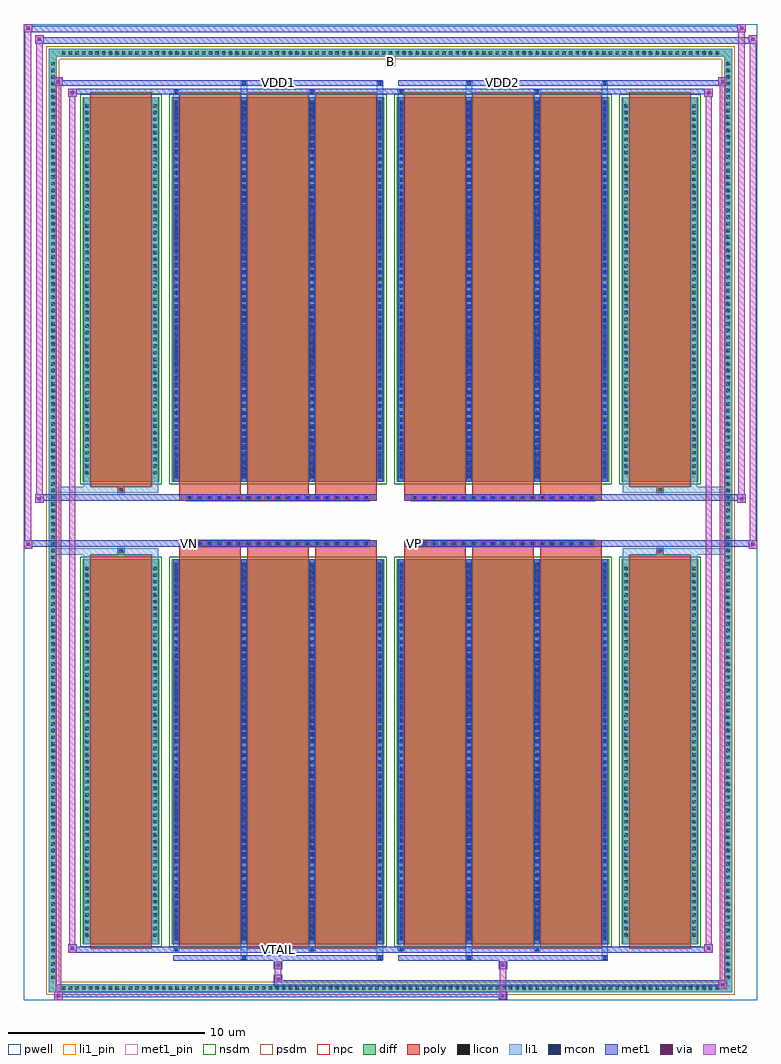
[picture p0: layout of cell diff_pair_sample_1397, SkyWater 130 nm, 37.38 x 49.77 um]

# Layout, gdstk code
import gdstk
lib = gdstk.Library(unit=1e-6, precision=5e-09)
def R(c, l, rs):  # rectangles x0, y0, x1, y1
    for r in rs: c.add(gdstk.rectangle(r[:2], r[2:], *l))
def A(c, l, x, y, w, h, nx, ny, dx, dy):  # array of equal rectangles
    R(c, l, [(x+i*dx, y+j*dy, x+i*dx+w, y+j*dy+h) for i in range(nx) for j in range(ny)])
def P(c, l, *ps):  # polygons
    for p in ps: c.add(gdstk.Polygon(p, *l))
pwell = (64, 44)
diff = (65, 20)
poly = (66, 20)
licon = (66, 44)
li1_pin = (67, 16)
li1 = (67, 20)
mcon = (67, 44)
met1_pin = (68, 16)
met1 = (68, 20)
via = (68, 44)
met2 = (69, 20)
nsdm = (93, 44)
psdm = (94, 20)
npc = (95, 20)

diff_pair_sample_1397 = lib.new_cell('diff_pair_sample_1397')
R(diff_pair_sample_1397, pwell, [(-18.69,-24.45,18.69,25.32), (-16.01,-22.64,-0.01,-0.8), (0.01,-22.64,16.01,-0.8), (-16.01,0.8,-0.01,22.64), (0.01,0.8,16.01,22.64)])
A(diff_pair_sample_1397, diff, -16.865, -24.05, 0.41, 0.41, 99, 2, 0.34, 47.69)
A(diff_pair_sample_1397, diff, -17.42, -23.495, 0.41, 0.41, 1, 138, 0, 0.34)
A(diff_pair_sample_1397, diff, 17.01, -23.495, 0.41, 0.41, 1, 138, 0, 0.34)
R(diff_pair_sample_1397, diff, [(-16.865,-24.05,16.865,-23.64), (-17.42,-23.495,-17.01,23.495), (17.01,-23.495,17.42,23.495), (-15.7,-21.595,-11.79,-1.985), (-11.15,-21.595,-0.32,-1.985), (0.32,-21.595,11.15,-1.985), (11.79,-21.595,15.7,-1.985), (-15.7,1.985,-11.79,21.595), (-11.15,1.985,-0.32,21.595), (0.32,1.985,11.15,21.595), (11.79,1.985,15.7,21.595), (-16.865,23.64,16.865,24.05)])
P(diff_pair_sample_1397, diff, [(17.42,24.05),(-17.42,24.05),(-17.42,-23.64),(-17.01,-23.64),(-17.01,23.64),(17.01,23.64),(17.01,-23.64),(-17.01,-23.64),(-17.42,-23.64),(-17.42,-24.05),(17.42,-24.05)])
A(diff_pair_sample_1397, poly, -10.76, -21.845, 3.13, 20.11, 3, 2, 3.46, 23.58)
A(diff_pair_sample_1397, poly, 0.71, -21.845, 3.13, 20.11, 3, 2, 3.46, 23.58)
A(diff_pair_sample_1397, poly, -10.76, -1.735, 3.13, 0.405, 3, 2, 3.46, 3.065)
A(diff_pair_sample_1397, poly, 0.71, -1.735, 3.13, 0.405, 3, 2, 3.46, 3.065)
A(diff_pair_sample_1397, poly, -10.4, -1.33, 0.33, 0.33, 19, 2, 0.5, 2.33)
A(diff_pair_sample_1397, poly, 1.07, -1.33, 0.33, 0.33, 19, 2, 0.5, 2.33)
R(diff_pair_sample_1397, poly, [(-15.31,-21.845,-12.18,-1.735), (12.18,-21.845,15.31,-1.735), (-13.91,-1.735,-13.58,-1.405), (-13.91,-1.735,-13.58,-1.405), (13.58,-1.735,13.91,-1.405), (13.58,-1.735,13.91,-1.405), (-10.76,-1.33,-0.71,-1), (0.71,-1.33,10.76,-1), (-10.76,1,-0.71,1.33), (0.71,1,10.76,1.33), (-13.91,1.405,-13.58,1.735), (-13.91,1.405,-13.58,1.735), (13.58,1.405,13.91,1.735), (13.58,1.405,13.91,1.735), (-15.31,1.735,-12.18,21.845), (12.18,1.735,15.31,21.845)])
A(diff_pair_sample_1397, licon, -16.745, -23.93, 0.17, 0.17, 99, 2, 0.34, 47.69)
A(diff_pair_sample_1397, licon, -17.3, -23.375, 0.17, 0.17, 1, 138, 0, 0.34)
A(diff_pair_sample_1397, licon, 17.13, -23.375, 0.17, 0.17, 1, 138, 0, 0.34)
A(diff_pair_sample_1397, licon, -15.56, -21.225, 0.17, 0.17, 1, 56, 0, 0.34)
A(diff_pair_sample_1397, licon, -12.1, -21.225, 0.17, 0.17, 1, 56, 0, 0.34)
A(diff_pair_sample_1397, licon, -11.01, -21.225, 0.17, 0.17, 4, 56, 3.46, 0.34)
A(diff_pair_sample_1397, licon, 0.46, -21.225, 0.17, 0.17, 4, 56, 3.46, 0.34)
A(diff_pair_sample_1397, licon, 11.93, -21.225, 0.17, 0.17, 1, 56, 0, 0.34)
A(diff_pair_sample_1397, licon, 15.39, -21.225, 0.17, 0.17, 1, 56, 0, 0.34)
A(diff_pair_sample_1397, licon, -10.32, -1.25, 0.17, 0.17, 19, 2, 0.5, 2.33)
A(diff_pair_sample_1397, licon, 1.15, -1.25, 0.17, 0.17, 19, 2, 0.5, 2.33)
A(diff_pair_sample_1397, licon, -15.56, 2.355, 0.17, 0.17, 1, 56, 0, 0.34)
A(diff_pair_sample_1397, licon, -12.1, 2.355, 0.17, 0.17, 1, 56, 0, 0.34)
A(diff_pair_sample_1397, licon, -11.01, 2.355, 0.17, 0.17, 4, 56, 3.46, 0.34)
A(diff_pair_sample_1397, licon, 0.46, 2.355, 0.17, 0.17, 4, 56, 3.46, 0.34)
A(diff_pair_sample_1397, licon, 11.93, 2.355, 0.17, 0.17, 1, 56, 0, 0.34)
A(diff_pair_sample_1397, licon, 15.39, 2.355, 0.17, 0.17, 1, 56, 0, 0.34)
R(diff_pair_sample_1397, licon, [(-13.83,-1.655,-13.66,-1.485), (13.66,-1.655,13.83,-1.485), (-13.83,1.485,-13.66,1.655), (13.66,1.485,13.83,1.655)])
R(diff_pair_sample_1397, li1_pin, [(-0.25,23.14,0.25,23.64)])
A(diff_pair_sample_1397, li1, -16.825, -24.01, 0.33, 0.33, 99, 2, 0.34, 47.69)
A(diff_pair_sample_1397, li1, -17.38, -23.455, 0.33, 0.33, 1, 138, 0, 0.34)
A(diff_pair_sample_1397, li1, 17.05, -23.455, 0.33, 0.33, 1, 138, 0, 0.34)
A(diff_pair_sample_1397, li1, -11.09, -21.595, 0.33, 19.61, 4, 2, 3.46, 23.58)
A(diff_pair_sample_1397, li1, 0.38, -21.595, 0.33, 19.61, 4, 2, 3.46, 23.58)
A(diff_pair_sample_1397, li1, -11.01, -21.415, 0.17, 0.17, 4, 54, 3.46, 0.36)
A(diff_pair_sample_1397, li1, -11.01, -21.415, 0.17, 19.25, 4, 2, 3.46, 23.58)
A(diff_pair_sample_1397, li1, 0.46, -21.415, 0.17, 0.17, 4, 54, 3.46, 0.36)
A(diff_pair_sample_1397, li1, 0.46, -21.415, 0.17, 19.25, 4, 2, 3.46, 23.58)
A(diff_pair_sample_1397, li1, -15.64, -21.305, 0.33, 0.33, 1, 56, 0, 0.34)
A(diff_pair_sample_1397, li1, -12.18, -21.305, 0.33, 0.33, 1, 56, 0, 0.34)
A(diff_pair_sample_1397, li1, -11.09, -21.305, 0.33, 0.33, 4, 56, 3.46, 0.34)
A(diff_pair_sample_1397, li1, 0.38, -21.305, 0.33, 0.33, 4, 56, 3.46, 0.34)
A(diff_pair_sample_1397, li1, 11.85, -21.305, 0.33, 0.33, 1, 56, 0, 0.34)
A(diff_pair_sample_1397, li1, 15.31, -21.305, 0.33, 0.33, 1, 56, 0, 0.34)
A(diff_pair_sample_1397, li1, -10.4, -1.33, 0.33, 0.33, 19, 2, 0.5, 2.33)
A(diff_pair_sample_1397, li1, 1.07, -1.33, 0.33, 0.33, 19, 2, 0.5, 2.33)
A(diff_pair_sample_1397, li1, -11.01, 2.165, 0.17, 0.17, 4, 54, 3.46, 0.36)
A(diff_pair_sample_1397, li1, 0.46, 2.165, 0.17, 0.17, 4, 54, 3.46, 0.36)
A(diff_pair_sample_1397, li1, -15.64, 2.275, 0.33, 0.33, 1, 56, 0, 0.34)
A(diff_pair_sample_1397, li1, -12.18, 2.275, 0.33, 0.33, 1, 56, 0, 0.34)
A(diff_pair_sample_1397, li1, -11.09, 2.275, 0.33, 0.33, 4, 56, 3.46, 0.34)
A(diff_pair_sample_1397, li1, 0.38, 2.275, 0.33, 0.33, 4, 56, 3.46, 0.34)
A(diff_pair_sample_1397, li1, 11.85, 2.275, 0.33, 0.33, 1, 56, 0, 0.34)
A(diff_pair_sample_1397, li1, 15.31, 2.275, 0.33, 0.33, 1, 56, 0, 0.34)
R(diff_pair_sample_1397, li1, [(-17.42,-24.05,-17.01,-23.64), (-17.42,-24.05,-17.01,-23.64), (-17.01,-24.05,17.01,-23.64), (17.01,-24.05,17.42,-23.64), (17.01,-24.05,17.42,-23.64), (-17.42,-23.64,-17.01,23.64), (17.01,-23.64,17.42,23.64), (-7.63,-22.4,-7.3,-21.595), (-7.55,-22.4,-7.38,-22.23), (-0.71,-22.4,-0.38,-21.595), (-0.63,-22.4,-0.46,-22.23), (3.84,-22.4,4.17,-21.595), (3.92,-22.4,4.09,-22.23), (10.76,-22.4,11.09,-21.595), (10.84,-22.4,11.01,-22.23), (-11.09,-21.97,-10.76,-21.595), (-11.01,-21.97,-10.84,-21.8), (-4.17,-21.97,-3.84,-21.595), (-4.09,-21.97,-3.92,-21.8), (0.38,-21.97,0.71,-21.595), (0.46,-21.97,0.63,-21.8), (7.3,-21.97,7.63,-21.595), (7.38,-21.97,7.55,-21.8), (-15.64,-21.595,-15.31,-1.985), (-12.18,-21.595,-11.85,-1.985), (11.85,-21.595,12.18,-1.985), (15.31,-21.595,15.64,-1.985), (-15.64,-1.985,-15.31,-1.405), (-12.18,-1.985,-11.85,-1.405), (11.85,-1.985,12.18,-1.405), (15.31,-1.985,15.64,-1.405), (-17.42,-1.735,-13.91,-1.405), (-15.64,-1.735,-13.91,-1.405), (-13.91,-1.735,-13.58,-1.405), (-13.58,-1.735,-11.85,-1.405), (11.85,-1.735,13.58,-1.405), (13.58,-1.735,13.91,-1.405), (13.58,-1.735,17.42,-1.405), (13.91,-1.735,15.64,-1.405), (-17.42,1.405,-13.91,1.735), (-15.64,1.405,-13.91,1.735), (-15.64,1.405,-15.31,1.985), (-13.91,1.405,-13.58,1.735), (-13.58,1.405,-11.85,1.735), (-12.18,1.405,-11.85,1.985), (11.85,1.405,13.58,1.735), (11.85,1.405,12.18,1.985), (13.58,1.405,13.91,1.735), (13.58,1.405,17.42,1.735), (13.91,1.405,15.64,1.735), (15.31,1.405,15.64,1.985), (-15.64,1.985,-15.31,21.595), (-12.18,1.985,-11.85,21.595), (11.85,1.985,12.18,21.595), (15.31,1.985,15.64,21.595), (-11.09,21.595,-10.76,21.97), (-7.63,21.595,-7.3,22.4), (-4.17,21.595,-3.84,21.97), (-0.71,21.595,-0.38,22.4), (0.38,21.595,0.71,21.97), (3.84,21.595,4.17,22.4), (7.3,21.595,7.63,21.97), (10.76,21.595,11.09,22.4), (-11.01,21.8,-10.84,21.97), (-4.09,21.8,-3.92,21.97), (0.46,21.8,0.63,21.97), (7.38,21.8,7.55,21.97), (-7.55,22.23,-7.38,22.4), (-0.63,22.23,-0.46,22.4), (3.92,22.23,4.09,22.4), (10.84,22.23,11.01,22.4), (-17.42,23.64,-17.01,24.05), (-17.42,23.64,-17.01,24.05), (-17.01,23.64,17.01,24.05), (17.01,23.64,17.42,24.05), (17.01,23.64,17.42,24.05)])
A(diff_pair_sample_1397, mcon, -11.01, -21.415, 0.17, 0.17, 4, 54, 3.46, 0.36)
A(diff_pair_sample_1397, mcon, 0.46, -21.415, 0.17, 0.17, 4, 54, 3.46, 0.36)
A(diff_pair_sample_1397, mcon, -10.32, -1.25, 0.17, 0.17, 19, 2, 0.5, 2.33)
A(diff_pair_sample_1397, mcon, 1.15, -1.25, 0.17, 0.17, 19, 2, 0.5, 2.33)
A(diff_pair_sample_1397, mcon, -11.01, 2.165, 0.17, 0.17, 4, 54, 3.46, 0.36)
A(diff_pair_sample_1397, mcon, 0.46, 2.165, 0.17, 0.17, 4, 54, 3.46, 0.36)
R(diff_pair_sample_1397, mcon, [(-7.55,-22.4,-7.38,-22.23), (-0.63,-22.4,-0.46,-22.23), (3.92,-22.4,4.09,-22.23), (10.84,-22.4,11.01,-22.23), (-11.01,-21.97,-10.84,-21.8), (-4.09,-21.97,-3.92,-21.8), (0.46,-21.97,0.63,-21.8), (7.38,-21.97,7.55,-21.8), (-11.01,21.8,-10.84,21.97), (-4.09,21.8,-3.92,21.97), (0.46,21.8,0.63,21.97), (7.38,21.8,7.55,21.97), (-7.55,22.23,-7.38,22.4), (-0.63,22.23,-0.46,22.4), (3.92,22.23,4.09,22.4), (10.84,22.23,11.01,22.4)])
R(diff_pair_sample_1397, met1_pin, [(-5.87,-22.01,-5.6,-21.74), (-10.37,-1.29,-10.1,-1.02), (1.1,-1.29,1.37,-1.02), (-5.87,22.19,-5.6,22.46), (5.6,22.19,5.87,22.46)])
A(diff_pair_sample_1397, met1, -11.07, -21.595, 0.29, 19.61, 4, 2, 3.46, 23.58)
A(diff_pair_sample_1397, met1, 0.4, -21.595, 0.29, 19.61, 4, 2, 3.46, 23.58)
A(diff_pair_sample_1397, met1, -11.07, -21.475, 0.29, 0.29, 4, 54, 3.46, 0.36)
A(diff_pair_sample_1397, met1, 0.4, -21.475, 0.29, 0.29, 4, 54, 3.46, 0.36)
A(diff_pair_sample_1397, met1, -10.38, -1.31, 0.29, 0.29, 19, 2, 0.5, 2.33)
A(diff_pair_sample_1397, met1, 1.09, -1.31, 0.29, 0.29, 19, 2, 0.5, 2.33)
A(diff_pair_sample_1397, met1, -11.07, 2.105, 0.29, 0.29, 4, 54, 3.46, 0.36)
A(diff_pair_sample_1397, met1, 0.4, 2.105, 0.29, 0.29, 4, 54, 3.46, 0.36)
R(diff_pair_sample_1397, met1, [(-17.15,-24.45,-16.72,-24.02), (5.52,-24.45,5.95,-24.02), (-17.15,-24.31,5.95,-24.02), (16.72,-23.88,17.15,-23.45), (-5.95,-23.74,17.15,-23.45), (-5.95,-23.6,-5.52,-23.17), (-5.95,-22.89,-5.52,-22.46), (5.52,-22.89,5.95,-22.46), (-11.07,-22.46,-0.4,-22.17), (-7.61,-22.46,-7.32,-22.17), (-0.69,-22.46,-0.4,-22.17), (0.4,-22.46,11.07,-22.17), (3.86,-22.46,4.15,-22.17), (10.78,-22.46,11.07,-22.17), (-16.44,-22.03,-16.01,-21.6), (-16.44,-22.03,-11.07,-21.74), (-11.07,-22.03,-10.78,-21.74), (-11.07,-22.03,-0.4,-21.74), (-4.15,-22.03,-3.86,-21.74), (-0.4,-22.03,0.4,-21.74), (0.4,-22.03,0.69,-21.74), (0.4,-22.03,11.07,-21.74), (7.32,-22.03,7.61,-21.74), (11.07,-22.03,16.44,-21.74), (16.01,-22.03,16.44,-21.6), (-18.69,-1.43,-18.26,-1), (18.26,-1.43,18.69,-1), (-18.69,-1.33,-0.71,-1), (-10.76,-1.33,-0.71,-1), (0.71,-1.33,10.76,-1), (0.71,-1.33,18.69,-1), (-18.12,0.9,-17.69,1.33), (17.69,0.9,18.12,1.33), (-18.12,1,-10.76,1.33), (-10.76,1,-0.71,1.33), (0.71,1,10.76,1.33), (10.76,1,18.12,1.33), (-16.44,21.6,-16.01,22.03), (16.01,21.6,16.44,22.03), (-16.44,21.74,-11.07,22.03), (-11.07,21.74,-10.78,22.03), (-11.07,21.74,-0.4,22.03), (-4.15,21.74,-3.86,22.03), (-0.4,21.74,0.4,22.03), (0.4,21.74,0.69,22.03), (0.4,21.74,11.07,22.03), (7.32,21.74,7.61,22.03), (11.07,21.74,16.44,22.03), (-17.15,22.17,-16.72,22.6), (-17.15,22.17,-11.07,22.46), (-11.07,22.17,-0.4,22.46), (-7.61,22.17,-7.32,22.46), (-0.69,22.17,-0.4,22.46), (0.4,22.17,11.07,22.46), (3.86,22.17,4.15,22.46), (10.78,22.17,11.07,22.46), (11.07,22.17,17.15,22.46), (16.72,22.17,17.15,22.6), (-18.12,24.32,-17.69,24.75), (-18.12,24.32,-16.01,24.65), (-16.01,24.32,16.01,24.65), (16.01,24.32,18.69,24.65), (18.26,24.32,18.69,24.75), (-18.69,24.89,-18.26,25.32), (-18.69,24.89,-16.01,25.22), (-16.01,24.89,16.01,25.22), (16.01,24.89,18.12,25.22), (17.69,24.89,18.12,25.32)])
R(diff_pair_sample_1397, via, [(-17.01,-24.31,-16.86,-24.16), (5.66,-24.31,5.81,-24.16), (16.86,-23.74,17.01,-23.59), (-5.81,-23.46,-5.66,-23.31), (-5.81,-22.75,-5.66,-22.6), (5.66,-22.75,5.81,-22.6), (-16.3,-21.89,-16.15,-21.74), (16.15,-21.89,16.3,-21.74), (-18.55,-1.29,-18.4,-1.14), (18.4,-1.29,18.55,-1.14), (-17.98,1.04,-17.83,1.19), (17.83,1.04,17.98,1.19), (-16.3,21.74,-16.15,21.89), (16.15,21.74,16.3,21.89), (-17.01,22.31,-16.86,22.46), (16.86,22.31,17.01,22.46), (-17.98,24.46,-17.83,24.61), (18.4,24.46,18.55,24.61), (-18.55,25.03,-18.4,25.18), (17.83,25.03,17.98,25.18)])
R(diff_pair_sample_1397, met2, [(-17.15,-24.45,-16.72,-24.02), (-17.08,-24.45,-16.79,22.6), (-16.79,-24.45,-16.72,-24.02), (-17.1,-24.4,-16.77,-24.07), (5.57,-24.4,5.9,-24.07), (5.57,-24.07,5.9,-22.84), (16.72,-23.88,17.15,-23.45), (16.79,-23.88,17.08,22.6), (17.08,-23.88,17.15,-23.45), (16.77,-23.83,17.1,-23.5), (-5.9,-23.55,-5.57,-23.22), (-5.9,-23.22,-5.57,-22.84), (-5.9,-22.84,-5.57,-22.51), (5.57,-22.84,5.9,-22.51), (-16.44,-22.03,-16.01,-21.6), (-16.37,-22.03,-16.08,22.03), (-16.08,-22.03,-16.01,-21.6), (16.01,-22.03,16.44,-21.6), (16.08,-22.03,16.37,22.03), (16.37,-22.03,16.44,-21.6), (-16.39,-21.98,-16.06,-21.65), (16.06,-21.98,16.39,-21.65), (-18.69,-1.43,-18.26,-1), (-18.64,-1.43,-18.31,25.32), (-18.31,-1.43,-18.26,-1), (18.26,-1.43,18.69,-1), (18.31,-1.43,18.64,24.75), (18.64,-1.43,18.69,-1), (-18.64,-1.38,-18.31,-1.05), (18.31,-1.38,18.64,-1.05), (-18.12,0.9,-17.69,1.33), (-18.07,0.9,-17.74,24.75), (-17.74,0.9,-17.69,1.33), (17.69,0.9,18.12,1.33), (17.74,0.9,18.07,25.32), (18.07,0.9,18.12,1.33), (-18.07,0.95,-17.74,1.28), (17.74,0.95,18.07,1.28), (-16.44,21.6,-16.01,22.03), (-16.08,21.6,-16.01,22.03), (16.01,21.6,16.44,22.03), (16.37,21.6,16.44,22.03), (-16.39,21.65,-16.06,21.98), (16.06,21.65,16.39,21.98), (-17.15,22.17,-16.72,22.6), (-16.79,22.17,-16.72,22.6), (16.72,22.17,17.15,22.6), (17.08,22.17,17.15,22.6), (-17.1,22.22,-16.77,22.55), (16.77,22.22,17.1,22.55), (-18.12,24.32,-17.69,24.75), (-17.74,24.32,-17.69,24.75), (18.26,24.32,18.69,24.75), (18.64,24.32,18.69,24.75), (-18.07,24.37,-17.74,24.7), (18.31,24.37,18.64,24.7), (-18.69,24.89,-18.26,25.32), (-18.31,24.89,-18.26,25.32), (17.69,24.89,18.12,25.32), (18.07,24.89,18.12,25.32), (-18.64,24.94,-18.31,25.27), (17.74,24.94,18.07,25.27)])
R(diff_pair_sample_1397, nsdm, [(-15.83,-21.725,-11.66,-1.855), (-11.28,-21.725,-0.19,-1.855), (0.19,-21.725,11.28,-1.855), (11.66,-21.725,15.83,-1.855), (-15.83,1.855,-11.66,21.725), (-11.28,1.855,-0.19,21.725), (0.19,1.855,11.28,21.725), (11.66,1.855,15.83,21.725)])
P(diff_pair_sample_1397, psdm, [(17.55,24.18),(-17.55,24.18),(-17.55,-23.51),(-16.88,-23.51),(-16.88,23.51),(16.88,23.51),(16.88,-23.51),(-16.88,-23.51),(-17.55,-23.51),(-17.55,-24.18),(17.55,-24.18)])
A(diff_pair_sample_1397, npc, -10.42, -1.35, 0.37, 0.37, 19, 2, 0.5, 2.33)
A(diff_pair_sample_1397, npc, 1.05, -1.35, 0.37, 0.37, 19, 2, 0.5, 2.33)
R(diff_pair_sample_1397, npc, [(-13.93,-1.755,-13.56,-1.385), (13.56,-1.755,13.93,-1.385), (-10.42,-1.35,-9.55,-0.98), (-10.42,-1.35,-9.55,-0.98), (-9.92,-1.35,-9.05,-0.98), (-9.92,-1.35,-9.05,-0.98), (-9.42,-1.35,-8.55,-0.98), (-9.42,-1.35,-8.55,-0.98), (-8.92,-1.35,-8.05,-0.98), (-8.92,-1.35,-8.05,-0.98), (-8.42,-1.35,-7.55,-0.98), (-8.42,-1.35,-7.55,-0.98), (-7.92,-1.35,-7.05,-0.98), (-7.92,-1.35,-7.05,-0.98), (-7.42,-1.35,-6.55,-0.98), (-7.42,-1.35,-6.55,-0.98), (-6.92,-1.35,-6.05,-0.98), (-6.92,-1.35,-6.05,-0.98), (-6.42,-1.35,-5.55,-0.98), (-6.42,-1.35,-5.55,-0.98), (-5.92,-1.35,-5.05,-0.98), (-5.92,-1.35,-5.05,-0.98), (-5.42,-1.35,-4.55,-0.98), (-5.42,-1.35,-4.55,-0.98), (-4.92,-1.35,-4.05,-0.98), (-4.92,-1.35,-4.05,-0.98), (-4.42,-1.35,-3.55,-0.98), (-4.42,-1.35,-3.55,-0.98), (-3.92,-1.35,-3.05,-0.98), (-3.92,-1.35,-3.05,-0.98), (-3.42,-1.35,-2.55,-0.98), (-3.42,-1.35,-2.55,-0.98), (-2.92,-1.35,-2.05,-0.98), (-2.92,-1.35,-2.05,-0.98), (-2.42,-1.35,-1.55,-0.98), (-2.42,-1.35,-1.55,-0.98), (-1.92,-1.35,-1.05,-0.98), (-1.92,-1.35,-1.05,-0.98), (1.05,-1.35,1.92,-0.98), (1.05,-1.35,1.92,-0.98), (1.55,-1.35,2.42,-0.98), (1.55,-1.35,2.42,-0.98), (2.05,-1.35,2.92,-0.98), (2.05,-1.35,2.92,-0.98), (2.55,-1.35,3.42,-0.98), (2.55,-1.35,3.42,-0.98), (3.05,-1.35,3.92,-0.98), (3.05,-1.35,3.92,-0.98), (3.55,-1.35,4.42,-0.98), (3.55,-1.35,4.42,-0.98), (4.05,-1.35,4.92,-0.98), (4.05,-1.35,4.92,-0.98), (4.55,-1.35,5.42,-0.98), (4.55,-1.35,5.42,-0.98), (5.05,-1.35,5.92,-0.98), (5.05,-1.35,5.92,-0.98), (5.55,-1.35,6.42,-0.98), (5.55,-1.35,6.42,-0.98), (6.05,-1.35,6.92,-0.98), (6.05,-1.35,6.92,-0.98), (6.55,-1.35,7.42,-0.98), (6.55,-1.35,7.42,-0.98), (7.05,-1.35,7.92,-0.98), (7.05,-1.35,7.92,-0.98), (7.55,-1.35,8.42,-0.98), (7.55,-1.35,8.42,-0.98), (8.05,-1.35,8.92,-0.98), (8.05,-1.35,8.92,-0.98), (8.55,-1.35,9.42,-0.98), (8.55,-1.35,9.42,-0.98), (9.05,-1.35,9.92,-0.98), (9.05,-1.35,9.92,-0.98), (9.55,-1.35,10.42,-0.98), (9.55,-1.35,10.42,-0.98), (-10.42,0.98,-9.55,1.35), (-10.42,0.98,-9.55,1.35), (-9.92,0.98,-9.05,1.35), (-9.92,0.98,-9.05,1.35), (-9.42,0.98,-8.55,1.35), (-9.42,0.98,-8.55,1.35), (-8.92,0.98,-8.05,1.35), (-8.92,0.98,-8.05,1.35), (-8.42,0.98,-7.55,1.35), (-8.42,0.98,-7.55,1.35), (-7.92,0.98,-7.05,1.35), (-7.92,0.98,-7.05,1.35), (-7.42,0.98,-6.55,1.35), (-7.42,0.98,-6.55,1.35), (-6.92,0.98,-6.05,1.35), (-6.92,0.98,-6.05,1.35), (-6.42,0.98,-5.55,1.35), (-6.42,0.98,-5.55,1.35), (-5.92,0.98,-5.05,1.35), (-5.92,0.98,-5.05,1.35), (-5.42,0.98,-4.55,1.35), (-5.42,0.98,-4.55,1.35), (-4.92,0.98,-4.05,1.35), (-4.92,0.98,-4.05,1.35), (-4.42,0.98,-3.55,1.35), (-4.42,0.98,-3.55,1.35), (-3.92,0.98,-3.05,1.35), (-3.92,0.98,-3.05,1.35), (-3.42,0.98,-2.55,1.35), (-3.42,0.98,-2.55,1.35), (-2.92,0.98,-2.05,1.35), (-2.92,0.98,-2.05,1.35), (-2.42,0.98,-1.55,1.35), (-2.42,0.98,-1.55,1.35), (-1.92,0.98,-1.05,1.35), (-1.92,0.98,-1.05,1.35), (1.05,0.98,1.92,1.35), (1.05,0.98,1.92,1.35), (1.55,0.98,2.42,1.35), (1.55,0.98,2.42,1.35), (2.05,0.98,2.92,1.35), (2.05,0.98,2.92,1.35), (2.55,0.98,3.42,1.35), (2.55,0.98,3.42,1.35), (3.05,0.98,3.92,1.35), (3.05,0.98,3.92,1.35), (3.55,0.98,4.42,1.35), (3.55,0.98,4.42,1.35), (4.05,0.98,4.92,1.35), (4.05,0.98,4.92,1.35), (4.55,0.98,5.42,1.35), (4.55,0.98,5.42,1.35), (5.05,0.98,5.92,1.35), (5.05,0.98,5.92,1.35), (5.55,0.98,6.42,1.35), (5.55,0.98,6.42,1.35), (6.05,0.98,6.92,1.35), (6.05,0.98,6.92,1.35), (6.55,0.98,7.42,1.35), (6.55,0.98,7.42,1.35), (7.05,0.98,7.92,1.35), (7.05,0.98,7.92,1.35), (7.55,0.98,8.42,1.35), (7.55,0.98,8.42,1.35), (8.05,0.98,8.92,1.35), (8.05,0.98,8.92,1.35), (8.55,0.98,9.42,1.35), (8.55,0.98,9.42,1.35), (9.05,0.98,9.92,1.35), (9.05,0.98,9.92,1.35), (9.55,0.98,10.42,1.35), (9.55,0.98,10.42,1.35), (-13.93,1.385,-13.56,1.755), (13.56,1.385,13.93,1.755)])
diff_pair_sample_1397.add(gdstk.Label('VTAIL', (-5.735,-21.875), layer=68, texttype=5))
diff_pair_sample_1397.add(gdstk.Label('VN', (-10.235,-1.155), layer=68, texttype=5))
diff_pair_sample_1397.add(gdstk.Label('VP', (1.235,-1.155), layer=68, texttype=5))
diff_pair_sample_1397.add(gdstk.Label('B', (0,23.39), layer=67, texttype=5))
diff_pair_sample_1397.add(gdstk.Label('VDD2', (5.735,22.325), layer=68, texttype=5))
diff_pair_sample_1397.add(gdstk.Label('VDD1', (-5.735,22.325), layer=68, texttype=5))

lib.write_gds('diff_pair_sample_1397.gds')
